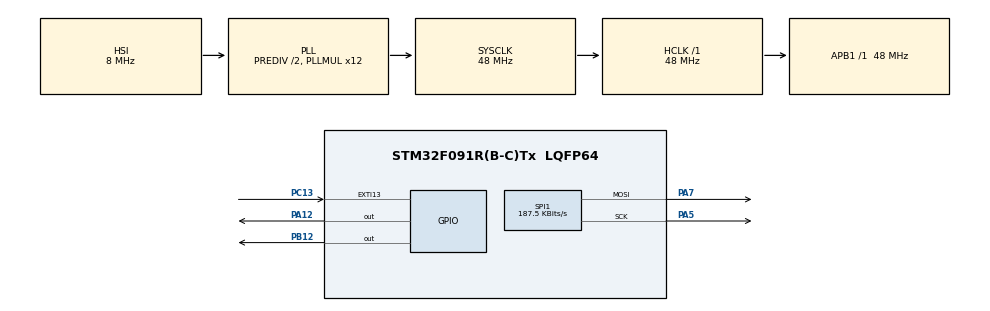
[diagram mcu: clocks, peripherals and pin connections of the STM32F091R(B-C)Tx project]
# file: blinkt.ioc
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Mcu.Family=STM32F0
Mcu.Name=STM32F091R(B-C)Tx
Mcu.Package=LQFP64
PA12.Signal=GPIO_Output
PA13.Mode=Serial_Wire
PA13.Signal=SYS_SWDIO
PA14.Mode=Serial_Wire
PA14.Signal=SYS_SWCLK
PA5.Mode=TX_Only_Simplex_Unidirect_Master
PA5.Signal=SPI1_SCK
PA7.Mode=TX_Only_Simplex_Unidirect_Master
PA7.Signal=SPI1_MOSI
PB12.Signal=GPIO_Output
PC13.GPIO_ModeDefaultEXTI=GPIO_MODE_IT_RISING
PC13.GPIO_PuPd=GPIO_NOPULL
PC13.Signal=GPXTI13
PC14OSC32_IN.Mode=LSE-External-Oscillator
PC14OSC32_IN.Signal=RCC_OSC32_IN
PC15OSC32_OUT.Mode=LSE-External-Oscillator
PC15OSC32_OUT.Signal=RCC_OSC32_OUT
PF0-OSC_IN.Mode=HSE-External-Clock-Source
PF0-OSC_IN.Signal=RCC_OSC_IN
PF1-OSC_OUT.Signal=RCC_OSC_OUT
ProjectManager.HeapSize=0x200
ProjectManager.StackSize=0x400
ProjectManager.TargetToolchain=Makefile
RCC.AHBFreq_Value=48000000
RCC.APB1Freq_Value=48000000
RCC.APB1TimFreq_Value=48000000
RCC.FLatency-AdvancedSettings=FLASH_LATENCY_1
RCC.HCLKFreq_Value=48000000
RCC.PLLDivider=RCC_PREDIV_DIV2
RCC.PLLMUL=RCC_PLL_MUL12
RCC.PREFETCH_ENABLE-AdvancedSettings=1
RCC.SYSCLKFreq_VALUE=48000000
RCC.SYSCLKSource=RCC_SYSCLKSOURCE_PLLCLK
SPI1.BaudRatePrescaler=SPI_BAUDRATEPRESCALER_256
SPI1.CLKPhase=SPI_PHASE_1EDGE
SPI1.CLKPolarity=SPI_POLARITY_LOW
SPI1.CalculateBaudRate=187.5 KBits/s
SPI1.DataSize=SPI_DATASIZE_8BIT
SPI1.Direction=SPI_DIRECTION_2LINES
SPI1.Mode=SPI_MODE_MASTER
SPI1.VirtualType=VM_MASTER
board=NUCLEO-F091RC

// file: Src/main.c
/* USER CODE BEGIN Header */
/**
  ******************************************************************************
  * @file           : main.c
  * @brief          : Main program body
  ******************************************************************************
  * @attention
  *
  * <h2><center>&copy; Copyright (c) 2020 STMicroelectronics.
  * All rights reserved.</center></h2>
  *
  * This software component is licensed by ST under BSD 3-Clause license,
  * the "License"; You may not use this file except in compliance with the
  * License. You may obtain a copy of the License at:
  *                        opensource.org/licenses/BSD-3-Clause
  *
  ******************************************************************************
  */
/* USER CODE END Header */

#include "main.h"
#include "spi.h"
#include "gpio.h"

/* USER CODE BEGIN Includes */
#include <blinkt.h>
/* USER CODE END Includes */

/* USER CODE BEGIN PV */
uint8_t cur_brightness=0;
/* USER CODE END PV */

void SystemClock_Config(void);
/* USER CODE BEGIN PFP */
void candle_brightness_blinkt();

/* USER CODE END PFP */

int main(void)
{

  /* MCU Configuration--------------------------------------------------------*/

  /* Reset of all peripherals, Initializes the Flash interface and the Systick. */
  HAL_Init();

  /* Configure the system clock */
  SystemClock_Config();

  /* Initialize all configured peripherals */
  MX_GPIO_Init();
  MX_SPI1_Init();
  /* USER CODE BEGIN 2 */
  candle_brightness_blinkt();
  set_pixel_blinkt(0,10,19,240);
  set_pixel_blinkt(1,100,19,24);
  set_pixel_blinkt(2,130,19,240);
  set_pixel_blinkt(3,10,19,40);
  set_pixel_blinkt(4,20,38,80);
  set_pixel_blinkt(5,40,76,160);
  set_pixel_blinkt(6,96,35,75);
  set_pixel_blinkt(7,200,19,1);

  /* USER CODE END 2 */

  /* Infinite loop */
  /* USER CODE BEGIN WHILE */
  // clear_blinkt();
  while (1)
  {
    /* USER CODE END WHILE */

    /* USER CODE BEGIN 3 */

    candle_color_shift();
    show_blinkt();
    // cur_brightness++;
    // if(cur_brightness > 31){
    //   cur_brightness=0;
    // }
    HAL_Delay(20);
  }
  /* USER CODE END 3 */
}

void SystemClock_Config(void)
{
  RCC_OscInitTypeDef RCC_OscInitStruct = {0};
  RCC_ClkInitTypeDef RCC_ClkInitStruct = {0};

  /** Initializes the CPU, AHB and APB busses clocks
  */
  RCC_OscInitStruct.OscillatorType = RCC_OSCILLATORTYPE_HSI;
  RCC_OscInitStruct.HSIState = RCC_HSI_ON;
  RCC_OscInitStruct.HSICalibrationValue = RCC_HSICALIBRATION_DEFAULT;
  RCC_OscInitStruct.PLL.PLLState = RCC_PLL_ON;
  RCC_OscInitStruct.PLL.PLLSource = RCC_PLLSOURCE_HSI;
  RCC_OscInitStruct.PLL.PLLMUL = RCC_PLL_MUL12;
  RCC_OscInitStruct.PLL.PREDIV = RCC_PREDIV_DIV2;
  if (HAL_RCC_OscConfig(&RCC_OscInitStruct) != HAL_OK)
  {
    Error_Handler();
  }
  /** Initializes the CPU, AHB and APB busses clocks
  */
  RCC_ClkInitStruct.ClockType = RCC_CLOCKTYPE_HCLK|RCC_CLOCKTYPE_SYSCLK
                              |RCC_CLOCKTYPE_PCLK1;
  RCC_ClkInitStruct.SYSCLKSource = RCC_SYSCLKSOURCE_PLLCLK;
  RCC_ClkInitStruct.AHBCLKDivider = RCC_SYSCLK_DIV1;
  RCC_ClkInitStruct.APB1CLKDivider = RCC_HCLK_DIV1;

  if (HAL_RCC_ClockConfig(&RCC_ClkInitStruct, FLASH_LATENCY_1) != HAL_OK)
  {
    Error_Handler();
  }
}

void Error_Handler(void)
{
}

/************************ (C) COPYRIGHT STMicroelectronics *****END OF FILE****/
